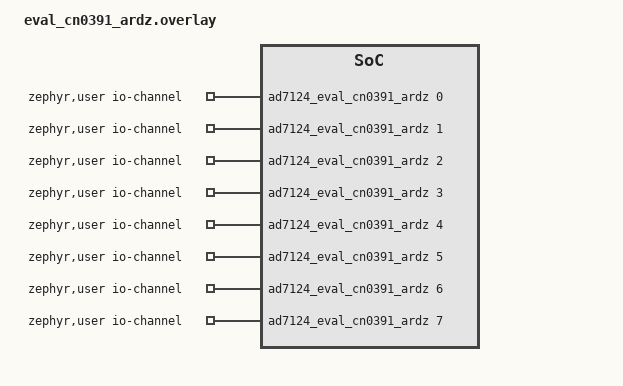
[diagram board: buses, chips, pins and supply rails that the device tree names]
/*
 * Copyright (c) 2026 Analog Devices, Inc.
 *
 * SPDX-License-Identifier: Apache-2.0
 */

/ {
	zephyr,user {
		io-channels = <&ad7124_eval_cn0391_ardz 0>,
			      <&ad7124_eval_cn0391_ardz 1>,
			      <&ad7124_eval_cn0391_ardz 2>,
			      <&ad7124_eval_cn0391_ardz 3>,
			      <&ad7124_eval_cn0391_ardz 4>,
			      <&ad7124_eval_cn0391_ardz 5>,
			      <&ad7124_eval_cn0391_ardz 6>,
			      <&ad7124_eval_cn0391_ardz 7>,
			      <&ad7124_eval_cn0391_ardz 9>;
	};
};
